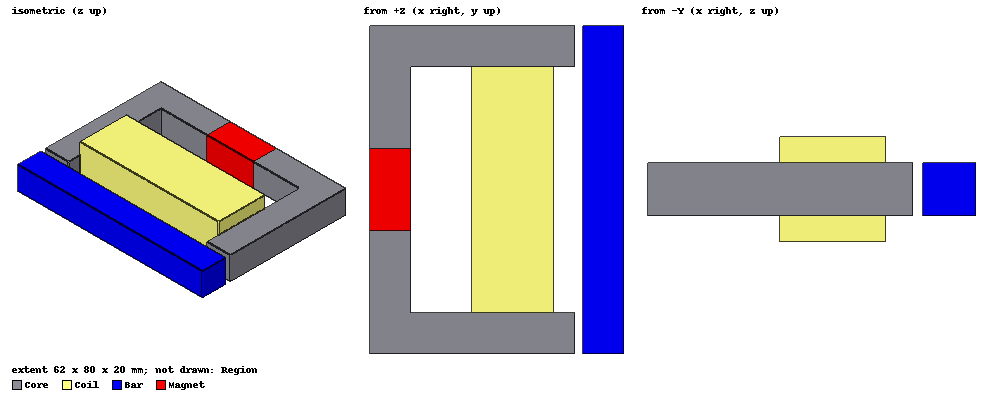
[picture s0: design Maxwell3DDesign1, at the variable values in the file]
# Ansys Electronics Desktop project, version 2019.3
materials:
  vacuum: permittivity=1
  copper: permeability=0.999991 conductivity=58000000
  steel_1008: permeability{HUnit=A_per_meter BUnit=tesla curve (0, 0) (159.2, 0.2402) (318.3, 0.8654) (477.5, 1.1106) (636.6, 1.2458) (795.8, 1.331) (1591.5, 1.5) (3183.1, 1.6) (4774.6, 1.683) (6366.2, 1.741) (7957.7, 1.78) (15915.5, 1.905) (31831, 2.025) (47746.5, 2.085) (63662, 2.13) (79577.5, 2.165) (159155, 2.28) (318310, 2.485) (397887, 2.5851)} conductivity=2000000
  NdFe35: permittivity=1 permeability=1.0997785 conductivity=625000 magnetic_coercivity{Magnitude=-890000A_per_meter DirComp1=1 DirComp2=0 DirComp3=0} lande_g_factor=2

design Maxwell3DDesign1 (Maxwell 3D, Magnetostatic, model units mm)
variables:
  mx = 1mm
  c1 = 500A
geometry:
  Part1 = box(corner=(0mm, 0mm, -5mm), size=(10mm, -30mm, 10mm))
  Part2 = Part1.duplicate_along_line(step=(30mm, 0mm, 0mm), total=2)
  Core [steel_1008] = box(corner=(0mm, -30mm, -5mm), size=(50mm, -10mm, 10mm))
  Core.unite(Part1, Part2)
  Core_1 = Core.duplicate_mirror(point=(0mm, 0mm, 0mm), normal=(0mm, 1mm, 0mm))
  Core.unite(Core_1)
  Bar [steel_1008] = box(corner=(51mm+mx, -40mm, -5mm), size=(10mm, 80mm, 10mm))
  Coil [copper] = box(corner=(45mm, 30mm, 10mm), size=(-20mm, -60mm, -20mm))
  Core_2 = Core.copy()
  Coil.subtract(Core_2)
  Coil_Section1 [copper] = Coil.section(plane=XY)
  Coil_Section1_Separate1 [copper] = Coil_Section1.separate_bodies()
  Magnet [NdFe35, oriented by FaceCS1] = box(corner=(0mm, -10mm, -5mm), size=(10mm, 20mm, 10mm))
  Magnet_1 = Magnet.copy()
  Core.subtract(Magnet_1)
  coordinate_system FaceCS1 = face of Magnet: Origin=Magnet.vertex(2 of 8) FaceID=Magnet.face(+z) AxisPosn=Magnet.vertex(1 of 8) WhichAxis=X ZRotationAngle=0deg XOffset=0mm YOffset=0mm
  Region [vacuum] = region(percentage_offset=50 on all sides) in FaceCS1
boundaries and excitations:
  Insulating1: Insulating Objects=Coil
  Current1: Current Objects=Coil_Section1_Separate1 Current=c1 IsSolid=false Point_out_of_terminal=true
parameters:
  Force1: Force Reference_CS=Global Is_Virtual=true Objects=Bar
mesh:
  initial mesh: GlobalCurvilinear{Apply}
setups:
  Setup1: Magnetostatic MaximumPasses=10 MinimumPasses=2 MinimumConvergedPasses=1 PercentRefinement=30 PercentError=1 NonLinearResidual=0.001
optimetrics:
  ParametricSetup1: Parametric Sim._Setups=[Setup1]
    sweep c1: LIN 0A 500A 100A
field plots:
  B_Vector1: B over a plane on Setup1 : LastAdaptive
  B_Vector2: B in Bar on Setup1 : LastAdaptive
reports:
  Force Plot 1: Force_y vs c1 on Setup1 : LastAdaptive
  Force Plot 2: Force1.Force_mag vs c1 on Setup1 : LastAdaptive
  Force Plot 3: Force1.Force_x, Force1.Force_mag, Force1.Force_y, Force1.Force_z vs c1 on Setup1 : LastAdaptive
